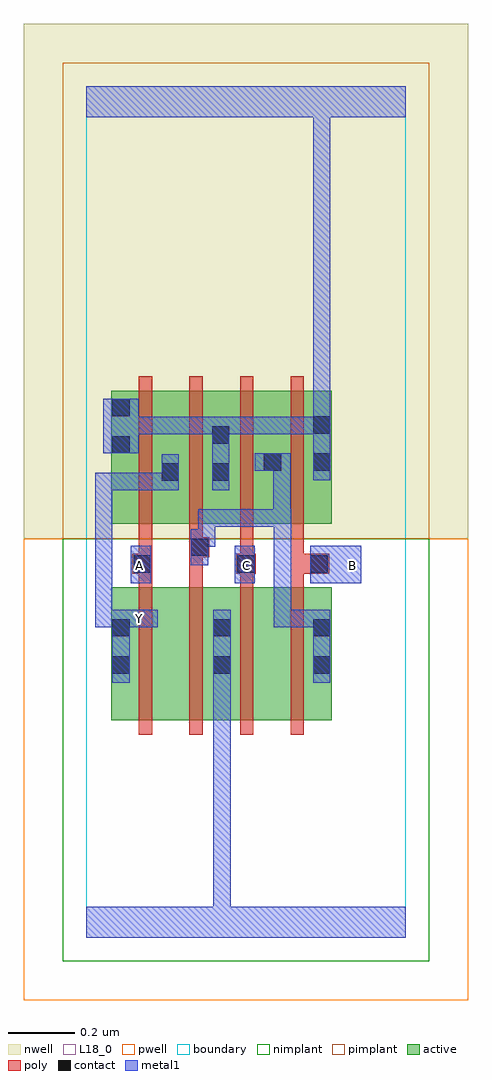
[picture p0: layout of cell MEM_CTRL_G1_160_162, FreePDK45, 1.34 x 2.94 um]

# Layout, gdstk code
import gdstk
lib = gdstk.Library(unit=1e-6, precision=1e-09)
def R(c, l, rs):  # rectangles x0, y0, x1, y1
    for r in rs: c.add(gdstk.rectangle(r[:2], r[2:], *l))
def A(c, l, x, y, w, h, nx, ny, dx, dy):  # array of equal rectangles
    R(c, l, [(x+i*dx, y+j*dy, x+i*dx+w, y+j*dy+h) for i in range(nx) for j in range(ny)])
active = (1, 0)
pwell = (2, 0)
nwell = (3, 0)
nimplant = (4, 0)
pimplant = (5, 0)
poly = (9, 0)
contact = (10, 0)
metal1 = (11, 0)
L18_0 = (18, 0)
boundary = (235, 0)

mem_ctrl_g1_160_162 = lib.new_cell('MEM_CTRL_G1_160_162')
R(mem_ctrl_g1_160_162, active, [(0.074,0.654,0.254,1.054), (0.254,0.654,0.438,1.054), (0.378,0.654,0.558,1.054), (0.558,0.654,0.738,1.054), (0.074,0.756,0.134,1.054), (0.378,0.756,0.438,0.962), (0.678,0.756,0.738,1.054), (0.074,1.244,0.134,1.644), (0.074,1.244,0.282,1.644), (0.222,1.244,0.434,1.644), (0.374,1.244,0.59,1.644), (0.53,1.244,0.738,1.644), (0.678,1.244,0.738,1.644), (0.374,1.366,0.434,1.644), (0.222,1.37,0.282,1.644), (0.53,1.4,0.59,1.644)])
R(mem_ctrl_g1_160_162, pwell, [(-0.188,-0.188,1.148,1.2)])
R(mem_ctrl_g1_160_162, nwell, [(-0.188,1.2,1.148,2.748)])
R(mem_ctrl_g1_160_162, nimplant, [(-0.072,-0.072,1.032,1.2)])
R(mem_ctrl_g1_160_162, pimplant, [(-0.072,1.2,1.032,2.632)])
A(mem_ctrl_g1_160_162, poly, 0.158, 0.61, 0.04, 0.488, 4, 2, 0.152, 0.59)
R(mem_ctrl_g1_160_162, poly, [(0.158,1.058,0.198,1.134), (0.31,1.058,0.35,1.184), (0.462,1.058,0.502,1.134), (0.614,1.058,0.654,1.134), (0.138,1.094,0.198,1.154), (0.158,1.094,0.198,1.134), (0.158,1.094,0.198,1.134), (0.45,1.094,0.51,1.154), (0.614,1.094,0.654,1.134), (0.614,1.094,0.654,1.134), (0.614,1.094,0.73,1.154), (0.158,1.114,0.198,1.24), (0.462,1.114,0.502,1.24), (0.462,1.114,0.502,1.154), (0.462,1.114,0.502,1.154), (0.614,1.114,0.654,1.24), (0.31,1.144,0.35,1.184), (0.31,1.144,0.35,1.184), (0.31,1.144,0.37,1.204), (0.31,1.164,0.35,1.24)])
R(mem_ctrl_g1_160_162, contact, [(0.078,0.794,0.13,0.846), (0.382,0.794,0.434,0.846), (0.682,0.794,0.734,0.846), (0.078,0.906,0.13,0.958), (0.382,0.906,0.434,0.958), (0.682,0.906,0.734,0.958), (0.142,1.098,0.194,1.15), (0.454,1.098,0.506,1.15), (0.674,1.098,0.726,1.15), (0.314,1.148,0.366,1.2), (0.226,1.374,0.278,1.426), (0.378,1.374,0.43,1.426), (0.534,1.404,0.586,1.456), (0.682,1.404,0.734,1.456), (0.078,1.456,0.13,1.508), (0.378,1.486,0.43,1.538), (0.682,1.516,0.734,1.568), (0.078,1.568,0.13,1.62)])
R(mem_ctrl_g1_160_162, metal1, [(0,0,0.96,0.092), (0.382,0.04,0.434,0.092), (0.382,0.04,0.434,0.092), (0.382,0.04,0.434,0.708), (0.382,0.656,0.434,0.708), (0.382,0.656,0.434,0.708), (0.382,0.656,0.434,0.708), (0.382,0.656,0.434,0.818), (0.078,0.766,0.13,0.986), (0.382,0.766,0.434,0.818), (0.382,0.766,0.434,0.818), (0.382,0.766,0.434,0.818), (0.382,0.766,0.434,0.818), (0.382,0.766,0.434,0.818), (0.382,0.766,0.434,0.818), (0.382,0.766,0.434,0.986), (0.682,0.766,0.734,0.986), (0.026,0.934,0.078,0.986), (0.026,0.934,0.078,0.986), (0.026,0.934,0.078,1.398), (0.026,0.934,0.214,0.986), (0.078,0.934,0.13,0.986), (0.564,0.934,0.616,0.986), (0.564,0.934,0.734,0.986), (0.564,0.934,0.616,1.288), (0.682,0.934,0.734,0.986), (0.682,0.934,0.734,0.986), (0.134,1.066,0.194,1.178), (0.446,1.066,0.506,1.178), (0.674,1.066,0.826,1.178), (0.314,1.12,0.366,1.228), (0.314,1.176,0.388,1.228), (0.336,1.176,0.388,1.288), (0.336,1.236,0.614,1.288), (0.562,1.236,0.614,1.288), (0.562,1.236,0.614,1.288), (0.562,1.236,0.614,1.456), (0.562,1.236,0.616,1.288), (0.564,1.236,0.616,1.288), (0.564,1.236,0.616,1.288), (0.026,1.346,0.078,1.398), (0.026,1.346,0.078,1.398), (0.026,1.346,0.078,1.398), (0.026,1.346,0.278,1.398), (0.226,1.346,0.278,1.454), (0.378,1.346,0.43,1.566), (0.682,1.376,0.734,1.596), (0.506,1.404,0.614,1.456), (0.05,1.456,0.158,1.62), (0.106,1.514,0.158,1.566), (0.106,1.514,0.158,1.566), (0.106,1.514,0.278,1.566), (0.226,1.514,0.278,1.566), (0.226,1.514,0.278,1.566), (0.226,1.514,0.278,1.566), (0.226,1.514,0.43,1.566), (0.378,1.514,0.616,1.566), (0.564,1.514,0.616,1.566), (0.564,1.514,0.616,1.566), (0.564,1.514,0.616,1.566), (0.564,1.514,0.734,1.566), (0.682,1.514,0.734,1.566), (0.682,1.514,0.734,1.566), (0.682,1.544,0.734,1.596), (0.682,1.544,0.734,1.596), (0.682,1.544,0.734,1.596), (0.682,1.544,0.734,1.596), (0.682,1.544,0.734,1.596), (0.682,1.544,0.734,1.596), (0.682,1.544,0.734,1.596), (0.682,1.544,0.734,1.596), (0.682,1.544,0.734,1.596), (0.682,1.544,0.734,1.596), (0.682,1.544,0.734,1.596), (0.682,1.544,0.734,1.596), (0.682,1.544,0.734,2.52), (0,2.468,0.96,2.56), (0.682,2.468,0.734,2.52), (0.682,2.468,0.734,2.52), (0.682,2.468,0.734,2.52), (0.682,2.468,0.734,2.52)])
A(mem_ctrl_g1_160_162, L18_0, 0.134, 1.094, 0.052, 0.052, 3, 1, 0.32, 0)
R(mem_ctrl_g1_160_162, L18_0, [(0,0,0.96,0.092), (0.382,0.04,0.434,0.092), (0.382,0.04,0.434,0.092), (0.382,0.04,0.434,0.708), (0.382,0.656,0.434,0.708), (0.382,0.656,0.434,0.708), (0.382,0.656,0.434,0.708), (0.382,0.656,0.434,0.818), (0.078,0.766,0.13,0.986), (0.382,0.766,0.434,0.986), (0.382,0.766,0.434,0.818), (0.382,0.766,0.434,0.818), (0.382,0.766,0.434,0.818), (0.382,0.766,0.434,0.818), (0.382,0.766,0.434,0.818), (0.382,0.766,0.434,0.818), (0.026,0.934,0.214,0.986), (0.026,0.934,0.078,0.986), (0.026,0.934,0.078,0.986), (0.026,0.934,0.078,1.398), (0.078,0.934,0.13,0.986), (0.134,0.934,0.186,0.986), (0.134,1.066,0.194,1.178), (0.446,1.066,0.506,1.178), (0.674,1.066,0.826,1.178), (0.026,1.346,0.078,1.398), (0.026,1.346,0.078,1.398), (0.026,1.346,0.078,1.398), (0.026,1.346,0.278,1.398), (0.226,1.346,0.278,1.454), (0.378,1.346,0.43,1.566), (0.682,1.376,0.734,1.596), (0.05,1.456,0.158,1.62), (0.106,1.514,0.158,1.566), (0.106,1.514,0.158,1.566), (0.106,1.514,0.278,1.566), (0.226,1.514,0.278,1.566), (0.226,1.514,0.278,1.566), (0.226,1.514,0.278,1.566), (0.226,1.514,0.43,1.566), (0.378,1.514,0.616,1.566), (0.564,1.514,0.616,1.566), (0.564,1.514,0.616,1.566), (0.564,1.514,0.616,1.566), (0.564,1.514,0.734,1.566), (0.682,1.514,0.734,1.566), (0.682,1.514,0.734,1.566), (0.682,1.544,0.734,1.596), (0.682,1.544,0.734,1.596), (0.682,1.544,0.734,1.596), (0.682,1.544,0.734,1.596), (0.682,1.544,0.734,1.596), (0.682,1.544,0.734,1.596), (0.682,1.544,0.734,1.596), (0.682,1.544,0.734,1.596), (0.682,1.544,0.734,1.596), (0.682,1.544,0.734,1.596), (0.682,1.544,0.734,1.596), (0.682,1.544,0.734,1.596), (0.682,1.544,0.734,2.52), (0,2.468,0.96,2.56), (0.682,2.468,0.734,2.52), (0.682,2.468,0.734,2.52), (0.682,2.468,0.734,2.52), (0.682,2.468,0.734,2.52)])
R(mem_ctrl_g1_160_162, boundary, [(0,0,0.96,2.56)])
mem_ctrl_g1_160_162.add(gdstk.Label('A', (0.16,1.12), layer=11, texttype=0))
mem_ctrl_g1_160_162.add(gdstk.Label('B', (0.8,1.12), layer=11, texttype=0))
mem_ctrl_g1_160_162.add(gdstk.Label('C', (0.48,1.12), layer=11, texttype=0))
mem_ctrl_g1_160_162.add(gdstk.Label('Y', (0.16,0.96), layer=11, texttype=0))

lib.write_gds('MEM_CTRL_G1_160_162.gds')
